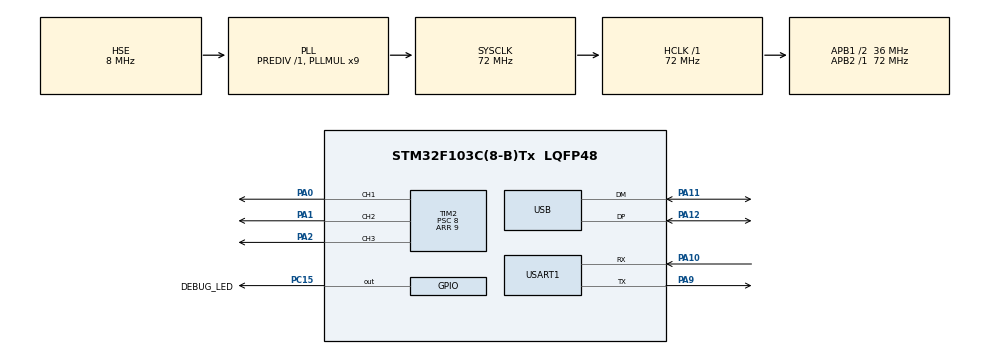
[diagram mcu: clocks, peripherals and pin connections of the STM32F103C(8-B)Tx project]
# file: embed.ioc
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Mcu.Family=STM32F1
USB_DEVICE.CLASS_NAME_FS=CDC
NVIC.DMA1_Channel5_IRQn=true\:5\:0\:false\:false\:true\:true\:false\:true
Dma.USART1_TX.1.MemInc=DMA_MINC_ENABLE
PA2.GPIO_Speed=GPIO_SPEED_FREQ_HIGH
PA11.Mode=Device
NVIC.TIM1_UP_IRQn=true\:0\:0\:false\:false\:true\:false\:false\:true
TIM2.Channel-PWM\ Generation2\ CH2=TIM_CHANNEL_2
PC15-OSC32_OUT.GPIO_Label=DEBUG_LED
RCC.SYSCLKSource=RCC_SYSCLKSOURCE_PLLCLK
ProjectManager.StackSize=0x400
VP_FREERTOS_VS_CMSIS_V2.Mode=CMSIS_V2
PD1-OSC_OUT.Signal=RCC_OSC_OUT
Dma.TIM2_CH3.2.PeriphInc=DMA_PINC_DISABLE
PA12.Signal=USB_DP
RCC.HCLKFreq_Value=72000000
RCC.APB2TimFreq_Value=72000000
RCC.AHBFreq_Value=72000000
Dma.USART1_RX.0.Priority=DMA_PRIORITY_LOW
RCC.PLLMUL=RCC_PLL_MUL9
PA14.Mode=Serial_Wire
VP_SYS_VS_tim1.Mode=TIM1
Dma.TIM2_CH3.2.Priority=DMA_PRIORITY_LOW
TIM2.Channel-PWM\ Generation1\ CH1=TIM_CHANNEL_1
Dma.TIM2_CH3.2.MemInc=DMA_MINC_ENABLE
Dma.USART1_RX.0.MemInc=DMA_MINC_ENABLE
Dma.USART1_TX.1.PeriphDataAlignment=DMA_PDATAALIGN_BYTE
Mcu.Package=LQFP48
TIM2.Prescaler=8
NVIC.TimeBase=TIM1_UP_IRQn
NVIC.TimeBaseIP=TIM1
PA10.Signal=USART1_RX
Dma.Request2=TIM2_CH3
Dma.Request1=USART1_TX
RCC.APB1TimFreq_Value=72000000
Dma.USART1_RX.0.Mode=DMA_NORMAL
Dma.USART1_TX.1.Priority=DMA_PRIORITY_LOW
NVIC.DMA1_Channel4_IRQn=true\:5\:0\:false\:false\:true\:true\:false\:true
NVIC.USART1_IRQn=true\:5\:0\:false\:false\:true\:true\:true\:true
Dma.Request0=USART1_RX
Dma.USART1_RX.0.Instance=DMA1_Channel5
Dma.USART1_TX.1.Direction=DMA_MEMORY_TO_PERIPH
RCC.PLLSourceVirtual=RCC_PLLSOURCE_HSE
Dma.USART1_TX.1.Instance=DMA1_Channel4
FREERTOS.Tasks01=defaultTask,24,128,StartDefaultTask,Default,NULL,Dynamic,NULL,NULL
PD1-OSC_OUT.Mode=HSE-External-Oscillator
Dma.USART1_RX.0.PeriphDataAlignment=DMA_PDATAALIGN_BYTE
PA10.Mode=Asynchronous
USB_DEVICE.VirtualModeFS=Cdc_FS
Dma.TIM2_CH3.2.Instance=DMA1_Channel1
RCC.USBPrescaler=RCC_USBCLKSOURCE_PLL_DIV1_5
PD0-OSC_IN.Signal=RCC_OSC_IN
RCC.APB1CLKDivider=RCC_HCLK_DIV2
PA0-WKUP.Signal=S_TIM2_CH1_ETR
PA13.Signal=SYS_JTMS-SWDIO
Dma.TIM2_CH3.2.MemDataAlignment=DMA_MDATAALIGN_BYTE
SH.S_TIM2_CH2.0=TIM2_CH2,PWM Generation2 CH2
PA9.Mode=Asynchronous
ProjectManager.TargetToolchain=Makefile
Dma.USART1_RX.0.Direction=DMA_PERIPH_TO_MEMORY
VP_USB_DEVICE_VS_USB_DEVICE_CDC_FS.Mode=CDC_FS
PA9.Signal=USART1_TX
RCC.USBFreq_Value=48000000
PC15-OSC32_OUT.Signal=GPIO_Output
PA1.Signal=S_TIM2_CH2
Dma.USART1_RX.0.PeriphInc=DMA_PINC_DISABLE
PD0-OSC_IN.Mode=HSE-External-Oscillator
Dma.USART1_TX.1.MemDataAlignment=DMA_MDATAALIGN_BYTE
board=custom
RCC.APB2Freq_Value=72000000
VP_TIM2_VS_ClockSourceINT.Mode=Internal
SH.S_TIM2_CH3.0=TIM2_CH3,PWM Generation3 CH3
NVIC.USB_LP_CAN1_RX0_IRQn=true\:5\:0\:false\:false\:true\:true\:false\:true
TIM2.Channel-PWM\ Generation3\ CH3=TIM_CHANNEL_3
Dma.USART1_RX.0.MemDataAlignment=DMA_MDATAALIGN_BYTE
Dma.TIM2_CH3.2.Direction=DMA_MEMORY_TO_PERIPH
TIM2.Period=9
PA13.Mode=Serial_Wire
Mcu.Name=STM32F103C(8-B)Tx
PA2.Signal=S_TIM2_CH3
RCC.SYSCLKFreq_VALUE=72000000
PA12.Mode=Device
Dma.USART1_TX.1.Mode=DMA_NORMAL
USART1.VirtualMode=VM_ASYNC
PA11.Signal=USB_DM
SH.S_TIM2_CH1_ETR.0=TIM2_CH1,PWM Generation1 CH1
PA14.Signal=SYS_JTCK-SWCLK
ProjectManager.HeapSize=0x200
Dma.USART1_TX.1.PeriphInc=DMA_PINC_DISABLE
Dma.TIM2_CH3.2.Mode=DMA_CIRCULAR
NVIC.PriorityGroup=NVIC_PRIORITYGROUP_4
NVIC.DMA1_Channel1_IRQn=true\:5\:0\:false\:false\:true\:true\:false\:true
Dma.TIM2_CH3.2.PeriphDataAlignment=DMA_PDATAALIGN_WORD
RCC.APB1Freq_Value=36000000
USB_DEVICE.VirtualMode=Cdc

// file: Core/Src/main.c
/* USER CODE BEGIN Header */
/**
  ******************************************************************************
  * @file           : main.c
  * @brief          : Main program body
  ******************************************************************************
  * @attention
  *
  * <h2><center>&copy; Copyright (c) 2021 STMicroelectronics.
  * All rights reserved.</center></h2>
  *
  * This software component is licensed by ST under Ultimate Liberty license
  * SLA0044, the "License"; You may not use this file except in compliance with
  * the License. You may obtain a copy of the License at:
  *                             www.st.com/SLA0044
  *
  ******************************************************************************
  */
/* USER CODE END Header */
#include "main.h"
#include "cmsis_os.h"
#include "dma.h"
#include "tim.h"
#include "usart.h"
#include "usb_device.h"
#include "gpio.h"

void SystemClock_Config(void);
void MX_FREERTOS_Init(void);

int main(void)
{

  /* MCU Configuration--------------------------------------------------------*/

  /* Reset of all peripherals, Initializes the Flash interface and the Systick. */
  HAL_Init();

  /* Configure the system clock */
  SystemClock_Config();

  /* Initialize all configured peripherals */
  MX_GPIO_Init();
  MX_DMA_Init();
  MX_USART1_UART_Init();
  MX_TIM2_Init();

  /* Init scheduler */
  osKernelInitialize();  /* Call init function for freertos objects (in freertos.c) */
  MX_FREERTOS_Init();
  /* Start scheduler */
  osKernelStart();

  /* We should never get here as control is now taken by the scheduler */
  /* Infinite loop */
  while (1)
  {

  }
}

void SystemClock_Config(void)
{
  RCC_OscInitTypeDef RCC_OscInitStruct = {0};
  RCC_ClkInitTypeDef RCC_ClkInitStruct = {0};
  RCC_PeriphCLKInitTypeDef PeriphClkInit = {0};

  /** Initializes the RCC Oscillators according to the specified parameters
  * in the RCC_OscInitTypeDef structure.
  */
  RCC_OscInitStruct.OscillatorType = RCC_OSCILLATORTYPE_HSE;
  RCC_OscInitStruct.HSEState = RCC_HSE_ON;
  RCC_OscInitStruct.HSEPredivValue = RCC_HSE_PREDIV_DIV1;
  RCC_OscInitStruct.HSIState = RCC_HSI_ON;
  RCC_OscInitStruct.PLL.PLLState = RCC_PLL_ON;
  RCC_OscInitStruct.PLL.PLLSource = RCC_PLLSOURCE_HSE;
  RCC_OscInitStruct.PLL.PLLMUL = RCC_PLL_MUL9;
  if (HAL_RCC_OscConfig(&RCC_OscInitStruct) != HAL_OK)
  {
    Error_Handler();
  }
  /** Initializes the CPU, AHB and APB buses clocks
  */
  RCC_ClkInitStruct.ClockType = RCC_CLOCKTYPE_HCLK|RCC_CLOCKTYPE_SYSCLK
                              |RCC_CLOCKTYPE_PCLK1|RCC_CLOCKTYPE_PCLK2;
  RCC_ClkInitStruct.SYSCLKSource = RCC_SYSCLKSOURCE_PLLCLK;
  RCC_ClkInitStruct.AHBCLKDivider = RCC_SYSCLK_DIV1;
  RCC_ClkInitStruct.APB1CLKDivider = RCC_HCLK_DIV2;
  RCC_ClkInitStruct.APB2CLKDivider = RCC_HCLK_DIV1;

  if (HAL_RCC_ClockConfig(&RCC_ClkInitStruct, FLASH_LATENCY_2) != HAL_OK)
  {
    Error_Handler();
  }
  PeriphClkInit.PeriphClockSelection = RCC_PERIPHCLK_USB;
  PeriphClkInit.UsbClockSelection = RCC_USBCLKSOURCE_PLL_DIV1_5;
  if (HAL_RCCEx_PeriphCLKConfig(&PeriphClkInit) != HAL_OK)
  {
    Error_Handler();
  }
}

 /**
  * @brief  Period elapsed callback in non blocking mode
  * @note   This function is called  when TIM1 interrupt took place, inside
  * HAL_TIM_IRQHandler(). It makes a direct call to HAL_IncTick() to increment
  * a global variable "uwTick" used as application time base.
  * @param  htim : TIM handle
  * @retval None
  */
void HAL_TIM_PeriodElapsedCallback(TIM_HandleTypeDef *htim)
{
  if (htim->Instance == TIM1) {
    HAL_IncTick();
  }
}

void Error_Handler(void)
{
  __disable_irq();
  while (1)
  {
  }
}

/************************ (C) COPYRIGHT STMicroelectronics *****END OF FILE****/

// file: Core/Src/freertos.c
/* USER CODE BEGIN Header */
/**
  ******************************************************************************
  * File Name          : freertos.c
  * Description        : Code for freertos applications
  ******************************************************************************
  * @attention
  *
  * <h2><center>&copy; Copyright (c) 2021 STMicroelectronics.
  * All rights reserved.</center></h2>
  *
  * This software component is licensed by ST under Ultimate Liberty license
  * SLA0044, the "License"; You may not use this file except in compliance with
  * the License. You may obtain a copy of the License at:
  *                             www.st.com/SLA0044
  *
  ******************************************************************************
  */
/* USER CODE END Header */

#include "FreeRTOS.h"
#include "task.h"
#include "main.h"
#include "cmsis_os.h"

/* USER CODE BEGIN Includes */
#include <string.h>
#include "tim.h"
#include "usbd_cdc_if.h"
/* USER CODE END Includes */

/* USER CODE BEGIN PTD */
typedef struct {
  uint8_t G[8];
  uint8_t R[8];
  uint8_t B[8];
} rgb_t;
/* USER CODE END PTD */

/* USER CODE BEGIN PD */
#define NUM_LEDS  64
#define NUM_RESET 64
#define NUM_DATA  (NUM_LEDS + NUM_RESET)
#define T_LOW     2
#define T_HIGH    5
/* USER CODE END PD */

/* USER CODE BEGIN Variables */
static rgb_t pixels[NUM_DATA];
/* USER CODE END Variables */
/* Definitions for defaultTask */
osThreadId_t defaultTaskHandle;
const osThreadAttr_t defaultTask_attributes = {
  .name = "defaultTask",
  .priority = (osPriority_t) osPriorityNormal,
  .stack_size = 128 * 4
};

void StartDefaultTask(void *argument);

extern void MX_USB_DEVICE_Init(void);
void MX_FREERTOS_Init(void); /* (MISRA C 2004 rule 8.1) */

void MX_FREERTOS_Init(void) {
  /* USER CODE BEGIN Init */
  // force re-enumeration by pulling down USB_DP for a couple of ms
  GPIO_InitTypeDef GPIO_InitStruct;
  GPIO_InitStruct.Pin = GPIO_PIN_12;
  GPIO_InitStruct.Mode = GPIO_MODE_OUTPUT_PP;
  GPIO_InitStruct.Pull = GPIO_NOPULL;
  GPIO_InitStruct.Speed = GPIO_SPEED_FREQ_HIGH;
  HAL_GPIO_Init(GPIOA, &GPIO_InitStruct);
  HAL_GPIO_WritePin(GPIOA, GPIO_PIN_12, GPIO_PIN_RESET);
  HAL_Delay(5);
  /* USER CODE END Init */

  /* Create the thread(s) */
  /* creation of defaultTask */
  defaultTaskHandle = osThreadNew(StartDefaultTask, NULL, &defaultTask_attributes);

}

void StartDefaultTask(void *argument)
{
  /* init code for USB_DEVICE */
  MX_USB_DEVICE_Init();
  /* USER CODE BEGIN StartDefaultTask */
  for (size_t i = 0; i < NUM_DATA; ++i) {
    memset(pixels, 0, NUM_DATA * sizeof(rgb_t));
  }

  for (size_t i = 0; i < NUM_LEDS; ++i) {
    memset(pixels, T_LOW, NUM_LEDS * sizeof(rgb_t));
  }

  pixels[1].G[0] = T_HIGH;
  pixels[14].G[0] = T_HIGH;
  pixels[17].G[0] = T_HIGH;

  pixels[46].G[0] = T_HIGH;
  pixels[49].G[0] = T_HIGH;
  pixels[62].G[0] = T_HIGH;

  pixels[13].R[0] = T_HIGH;
  pixels[50].R[0] = T_HIGH;

  pixels[20].G[0] = T_HIGH;
  pixels[21].G[0] = T_HIGH;
  pixels[22].G[0] = T_HIGH;
  pixels[27].G[0] = T_HIGH;
  pixels[36].G[0] = T_HIGH;
  pixels[41].G[0] = T_HIGH;
  pixels[42].G[0] = T_HIGH;
  pixels[43].G[0] = T_HIGH;

  HAL_TIM_PWM_Start_DMA(&htim2, TIM_CHANNEL_3, (uint32_t*)pixels, NUM_DATA * sizeof(rgb_t));
  /* Infinite loop */
  while (1) {
    HAL_GPIO_TogglePin(DEBUG_LED_GPIO_Port, DEBUG_LED_Pin);
    osDelay(500);
  }
  /* USER CODE END StartDefaultTask */
}

/************************ (C) COPYRIGHT STMicroelectronics *****END OF FILE****/
